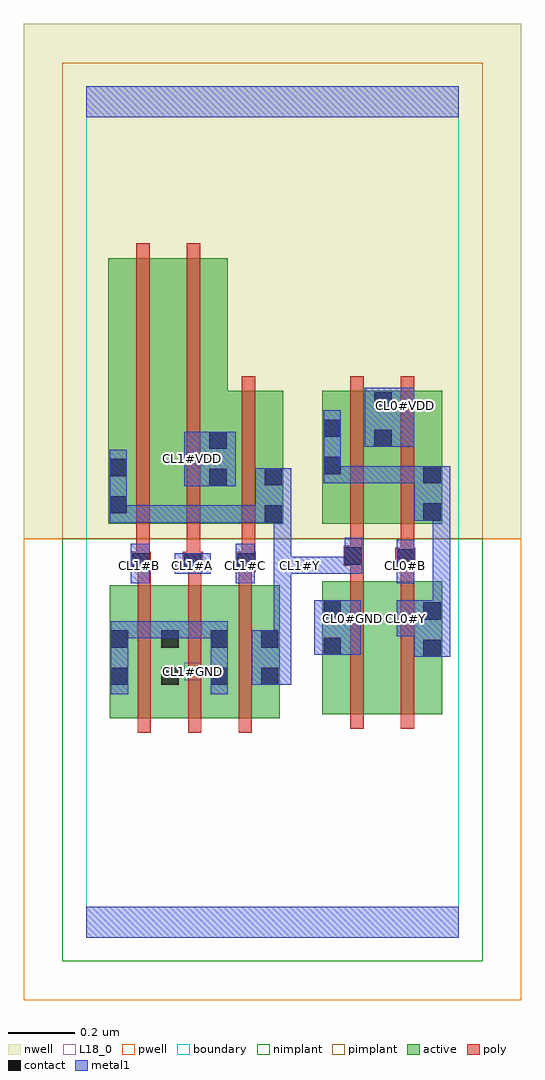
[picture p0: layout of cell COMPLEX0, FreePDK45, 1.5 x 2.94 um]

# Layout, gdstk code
import gdstk
lib = gdstk.Library(unit=1e-6, precision=1e-09)
def R(c, l, rs):  # rectangles x0, y0, x1, y1
    for r in rs: c.add(gdstk.rectangle(r[:2], r[2:], *l))
def A(c, l, x, y, w, h, nx, ny, dx, dy):  # array of equal rectangles
    R(c, l, [(x+i*dx, y+j*dy, x+i*dx+w, y+j*dy+h) for i in range(nx) for j in range(ny)])
active = (1, 0)
pwell = (2, 0)
nwell = (3, 0)
nimplant = (4, 0)
pimplant = (5, 0)
poly = (9, 0)
contact = (10, 0)
metal1 = (11, 0)
L18_0 = (18, 0)
boundary = (235, 0)

complex0 = lib.new_cell('COMPLEX0')
R(complex0, active, [(0.07,0.66,0.282,1.06), (0.222,0.66,0.43,1.06), (0.37,0.66,0.582,1.06), (0.71,0.672,0.89,1.072), (0.89,0.672,1.07,1.072), (0.07,0.756,0.13,1.06), (0.222,0.756,0.282,1.06), (0.37,0.756,0.43,1.06), (0.522,0.756,0.582,1.06), (0.71,0.756,0.77,1.072), (1.01,0.756,1.07,1.072), (0.066,1.244,0.126,2.044), (0.066,1.244,0.246,2.044), (0.246,1.244,0.426,2.044), (0.366,1.244,0.592,1.644), (0.366,1.244,0.426,2.044), (0.532,1.244,0.592,1.644), (0.71,1.244,0.922,1.644), (0.71,1.244,0.77,1.644), (0.862,1.244,1.07,1.644), (1.01,1.244,1.07,1.644), (0.862,1.338,0.922,1.644)])
R(complex0, pwell, [(-0.188,-0.188,1.308,1.2)])
R(complex0, nwell, [(-0.188,1.2,1.308,2.748)])
R(complex0, nimplant, [(-0.072,-0.072,1.192,1.2)])
R(complex0, pimplant, [(-0.072,1.2,1.192,2.632)])
A(complex0, poly, 0.154, 0.616, 0.04, 0.488, 3, 1, 0.152, 0)
A(complex0, poly, 0.154, 1.064, 0.04, 0.076, 3, 1, 0.152, 0)
R(complex0, poly, [(0.794,0.628,0.834,1.116), (0.946,0.628,0.986,1.116), (0.794,1.076,0.834,1.158), (0.946,1.076,0.986,1.152), (0.134,1.1,0.194,1.16), (0.154,1.1,0.194,1.14), (0.154,1.1,0.194,1.14), (0.29,1.1,0.35,1.16), (0.45,1.1,0.51,1.16), (0.93,1.112,0.99,1.172), (0.946,1.112,0.986,1.152), (0.946,1.112,0.986,1.152), (0.774,1.118,0.834,1.178), (0.15,1.12,0.19,1.24), (0.302,1.12,0.342,1.16), (0.302,1.12,0.342,1.16), (0.302,1.12,0.342,1.24), (0.468,1.12,0.508,1.16), (0.468,1.12,0.508,1.16), (0.468,1.12,0.508,1.24), (0.946,1.132,0.986,1.24), (0.794,1.138,0.834,1.178), (0.794,1.138,0.834,1.178), (0.794,1.138,0.834,1.24), (0.15,1.2,0.19,2.088), (0.302,1.2,0.342,2.088), (0.468,1.2,0.508,1.688), (0.794,1.2,0.834,1.688), (0.946,1.2,0.986,1.688)])
R(complex0, contact, [(0.074,0.76,0.126,0.812), (0.226,0.76,0.278,0.812), (0.374,0.76,0.426,0.812), (0.526,0.76,0.578,0.812), (1.014,0.844,1.066,0.896), (0.714,0.85,0.766,0.902), (0.074,0.872,0.126,0.924), (0.226,0.872,0.278,0.924), (0.374,0.872,0.426,0.924), (0.526,0.872,0.578,0.924), (1.014,0.956,1.066,1.008), (0.714,0.962,0.766,1.014), (0.138,1.104,0.19,1.156), (0.294,1.104,0.346,1.156), (0.454,1.104,0.506,1.156), (0.934,1.116,0.986,1.168), (0.778,1.122,0.83,1.174), (0.536,1.248,0.588,1.3), (1.014,1.254,1.066,1.306), (0.07,1.276,0.122,1.328), (0.37,1.358,0.422,1.41), (0.536,1.36,0.588,1.412), (1.014,1.366,1.066,1.418), (0.07,1.388,0.122,1.44), (0.714,1.394,0.766,1.446), (0.37,1.47,0.422,1.522), (0.866,1.476,0.918,1.528), (0.714,1.506,0.766,1.558), (0.866,1.588,0.918,1.64)])
R(complex0, metal1, [(0,0,1.12,0.092), (0.074,0.732,0.126,0.952), (0.374,0.732,0.426,0.952), (0.498,0.76,0.616,0.924), (0.986,0.844,1.094,1.008), (0.686,0.85,0.826,1.014), (0.564,0.872,0.616,1.146), (0.074,0.9,0.126,0.952), (0.074,0.9,0.126,0.952), (0.074,0.9,0.236,0.952), (0.184,0.9,0.236,0.952), (0.184,0.9,0.236,0.952), (0.184,0.9,0.236,0.952), (0.184,0.9,0.426,0.952), (0.934,0.906,1.094,1.014), (0.986,0.906,1.038,0.958), (1.042,0.962,1.094,1.306), (0.134,1.066,0.19,1.184), (0.45,1.066,0.506,1.184), (0.934,1.066,0.986,1.196), (0.266,1.094,0.374,1.156), (0.564,1.094,0.616,1.146), (0.564,1.094,0.616,1.146), (0.564,1.094,0.616,1.3), (0.564,1.094,0.694,1.146), (0.642,1.094,0.694,1.146), (0.642,1.094,0.694,1.146), (0.642,1.094,0.83,1.146), (0.778,1.094,0.83,1.202), (0.07,1.248,0.122,1.3), (0.07,1.248,0.122,1.3), (0.07,1.248,0.122,1.468), (0.07,1.248,0.236,1.3), (0.184,1.248,0.236,1.3), (0.184,1.248,0.236,1.3), (0.184,1.248,0.236,1.3), (0.184,1.248,0.346,1.3), (0.294,1.248,0.346,1.3), (0.294,1.248,0.56,1.3), (0.508,1.248,0.56,1.3), (0.508,1.248,0.56,1.3), (0.508,1.248,0.616,1.412), (0.986,1.254,1.094,1.418), (1.042,1.254,1.094,1.306), (1.042,1.254,1.094,1.306), (0.294,1.358,0.45,1.522), (0.714,1.366,0.876,1.418), (0.714,1.366,0.766,1.586), (0.824,1.366,0.876,1.418), (0.824,1.366,0.876,1.418), (0.824,1.366,0.876,1.418), (0.824,1.366,1.038,1.418), (0.986,1.366,1.038,1.418), (0.986,1.366,1.038,1.418), (0.838,1.476,0.986,1.654), (0,2.468,1.12,2.56)])
A(complex0, L18_0, 0.134, 1.094, 0.052, 0.052, 3, 1, 0.16, 0)
R(complex0, L18_0, [(0,0,1.12,0.092), (0.498,0.76,0.616,0.924), (0.294,0.774,0.346,0.826), (0.986,0.844,1.094,1.008), (0.686,0.85,0.826,1.014), (0.564,0.872,0.616,1.146), (0.934,0.906,1.094,1.014), (0.986,0.906,1.038,0.958), (0.774,0.934,0.826,0.986), (0.934,0.934,0.986,0.986), (1.042,0.962,1.094,1.306), (0.134,1.066,0.19,1.184), (0.45,1.066,0.506,1.184), (0.934,1.066,0.986,1.196), (0.266,1.094,0.374,1.156), (0.564,1.094,0.616,1.146), (0.564,1.094,0.616,1.146), (0.564,1.094,0.694,1.146), (0.564,1.094,0.616,1.3), (0.614,1.094,0.666,1.146), (0.642,1.094,0.694,1.146), (0.642,1.094,0.694,1.146), (0.642,1.094,0.83,1.146), (0.778,1.094,0.83,1.202), (0.934,1.094,0.986,1.146), (0.07,1.248,0.122,1.468), (0.07,1.248,0.122,1.3), (0.07,1.248,0.122,1.3), (0.07,1.248,0.236,1.3), (0.184,1.248,0.236,1.3), (0.184,1.248,0.236,1.3), (0.184,1.248,0.236,1.3), (0.184,1.248,0.346,1.3), (0.294,1.248,0.346,1.3), (0.294,1.248,0.56,1.3), (0.508,1.248,0.56,1.3), (0.508,1.248,0.56,1.3), (0.508,1.248,0.616,1.412), (0.986,1.254,1.094,1.418), (1.042,1.254,1.094,1.306), (1.042,1.254,1.094,1.306), (0.294,1.358,0.45,1.522), (0.714,1.366,0.766,1.586), (0.714,1.366,0.876,1.418), (0.824,1.366,0.876,1.418), (0.824,1.366,0.876,1.418), (0.824,1.366,0.876,1.418), (0.824,1.366,1.038,1.418), (0.986,1.366,1.038,1.418), (0.986,1.366,1.038,1.418), (0.294,1.414,0.346,1.466), (0.838,1.476,0.986,1.654), (0.934,1.574,0.986,1.626), (0,2.468,1.12,2.56)])
R(complex0, boundary, [(0,0,1.12,2.56)])
complex0.add(gdstk.Label('CL0#B', (0.96,1.12), layer=11, texttype=0))
complex0.add(gdstk.Label('CL0#GND', (0.8,0.96), layer=11, texttype=0))
complex0.add(gdstk.Label('CL0#VDD', (0.96,1.6), layer=11, texttype=0))
complex0.add(gdstk.Label('CL0#Y', (0.96,0.96), layer=11, texttype=0))
complex0.add(gdstk.Label('CL1#A', (0.32,1.12), layer=11, texttype=0))
complex0.add(gdstk.Label('CL1#B', (0.16,1.12), layer=11, texttype=0))
complex0.add(gdstk.Label('CL1#C', (0.48,1.12), layer=11, texttype=0))
complex0.add(gdstk.Label('CL1#GND', (0.32,0.8), layer=11, texttype=0))
complex0.add(gdstk.Label('CL1#VDD', (0.32,1.44), layer=11, texttype=0))
complex0.add(gdstk.Label('CL1#Y', (0.64,1.12), layer=11, texttype=0))

lib.write_gds('COMPLEX0.gds')
